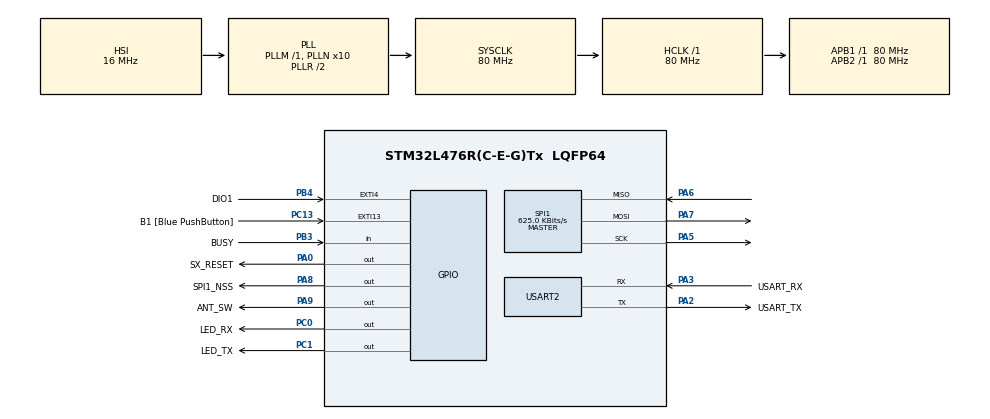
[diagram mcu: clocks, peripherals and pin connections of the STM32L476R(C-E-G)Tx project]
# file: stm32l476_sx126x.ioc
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Mcu.Family=STM32L4
Mcu.Name=STM32L476R(C-E-G)Tx
Mcu.Package=LQFP64
NVIC.EXTI15_10_IRQn=true\:0\:0\:false\:false\:true\:true\:true
NVIC.EXTI4_IRQn=true\:0\:0\:false\:false\:true\:true\:true
NVIC.PriorityGroup=NVIC_PRIORITYGROUP_4
NVIC.RTC_Alarm_IRQn=true\:1\:0\:true\:false\:true\:true\:true
NVIC.USART2_IRQn=true\:0\:0\:false\:false\:true\:true\:true
PA0.GPIO_Label=SX_RESET
PA0.Signal=GPIO_Output
PA13\ (JTMS-SWDIO).GPIO_Label=TMS
PA13\ (JTMS-SWDIO).Mode=Serial_Wire
PA13\ (JTMS-SWDIO).Signal=SYS_JTMS-SWDIO
PA14\ (JTCK-SWCLK).GPIO_Label=TCK
PA14\ (JTCK-SWCLK).Mode=Serial_Wire
PA14\ (JTCK-SWCLK).Signal=SYS_JTCK-SWCLK
PA2.GPIO_Label=USART_TX
PA2.GPIO_Mode=GPIO_MODE_AF_PP
PA2.GPIO_PuPd=GPIO_NOPULL
PA2.GPIO_Speed=GPIO_SPEED_FREQ_VERY_HIGH
PA2.Mode=Asynchronous
PA2.Signal=USART2_TX
PA3.GPIO_Label=USART_RX
PA3.GPIO_Mode=GPIO_MODE_AF_PP
PA3.GPIO_PuPd=GPIO_PULLUP
PA3.GPIO_Speed=GPIO_SPEED_FREQ_VERY_HIGH
PA3.Mode=Asynchronous
PA3.Signal=USART2_RX
PA5.Mode=Full_Duplex_Master
PA5.Signal=SPI1_SCK
PA6.Mode=Full_Duplex_Master
PA6.Signal=SPI1_MISO
PA7.Mode=Full_Duplex_Master
PA7.Signal=SPI1_MOSI
PA8.GPIO_Label=SPI1_NSS
PA8.PinState=GPIO_PIN_SET
PA8.Signal=GPIO_Output
PA9.GPIO_Label=ANT_SW
PA9.Signal=GPIO_Output
PB3\ (JTDO-TRACESWO).GPIO_Label=BUSY
PB3\ (JTDO-TRACESWO).GPIO_PuPd=GPIO_PULLUP
PB3\ (JTDO-TRACESWO).Signal=GPIO_Input
PB4\ (NJTRST).GPIO_Label=DIO1
PB4\ (NJTRST).GPIO_PuPd=GPIO_PULLUP
PB4\ (NJTRST).Signal=GPXTI4
PC0.GPIO_Label=LED_RX
PC0.Signal=GPIO_Output
PC1.GPIO_Label=LED_TX
PC1.Signal=GPIO_Output
PC13.GPIO_Label=B1 [Blue PushButton]
PC13.GPIO_ModeDefaultEXTI=GPIO_MODE_IT_FALLING
PC13.GPIO_PuPd=GPIO_PULLUP
PC13.Signal=GPXTI13
PC14-OSC32_IN\ (PC14).Mode=LSE-External-Oscillator
PC14-OSC32_IN\ (PC14).Signal=RCC_OSC32_IN
PC15-OSC32_OUT\ (PC15).Mode=LSE-External-Oscillator
PC15-OSC32_OUT\ (PC15).Signal=RCC_OSC32_OUT
ProjectManager.HeapSize=0x200
ProjectManager.StackSize=0x400
ProjectManager.TargetToolchain=EWARM V7
RCC.ADCFreq_Value=64000000
RCC.AHBFreq_Value=80000000
RCC.APB1Freq_Value=80000000
RCC.APB1TimFreq_Value=80000000
RCC.APB2Freq_Value=80000000
RCC.APB2TimFreq_Value=80000000
RCC.CortexFreq_Value=80000000
RCC.HCLKFreq_Value=80000000
RCC.HSE_VALUE=8000000
RCC.HSI_VALUE=16000000
RCC.MSI_VALUE=4000000
RCC.PLLN=10
RCC.PLLSourceVirtual=RCC_PLLSOURCE_HSI
RCC.PREFETCH_ENABLE=1
RCC.SYSCLKFreq_VALUE=80000000
RCC.SYSCLKSource=RCC_SYSCLKSOURCE_PLLCLK
RCC.USBFreq_Value=64000000
RCC.VCOOutputFreq_Value=160000000
RTC.Alarm-Alarm\ A=RTC_ALARM_A
RTC.AsynchPrediv=31
RTC.Format=RTC_FORMAT_BIN
RTC.SynchPrediv=1023
SPI1.BaudRatePrescaler=SPI_BAUDRATEPRESCALER_128
SPI1.CLKPhase=SPI_PHASE_2EDGE
SPI1.CalculateBaudRate=625.0 KBits/s
SPI1.DataSize=SPI_DATASIZE_8BIT
SPI1.Direction=SPI_DIRECTION_2LINES
SPI1.Mode=SPI_MODE_MASTER
SPI1.VirtualType=VM_MASTER
USART2.VirtualMode-Asynchronous=VM_ASYNC
VP_RTC_VS_RTC_Activate.Mode=RTC_Enabled
VP_RTC_VS_RTC_Alarm_A_Intern.Mode=Alarm A
VP_RTC_VS_RTC_Calendar.Mode=RTC_Calendar
board=NUCLEO-L476RG

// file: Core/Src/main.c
/* USER CODE BEGIN Header */
/**
  ******************************************************************************
  * @file           : main.c
  * @brief          : Main program body
  ******************************************************************************
  * @attention
  *
  * <h2><center>&copy; Copyright (c) 2021 STMicroelectronics.
  * All rights reserved.</center></h2>
  *
  * This software component is licensed by ST under BSD 3-Clause license,
  * the "License"; You may not use this file except in compliance with the
  * License. You may obtain a copy of the License at:
  *                        opensource.org/licenses/BSD-3-Clause
  *
  ******************************************************************************
  */
/* USER CODE END Header */
#include "main.h"

/* USER CODE BEGIN Includes */
#include <stdio.h>
#include "lora.h"
#include "sys_queue.h"
#include "sys_command_line.h"
/* USER CODE END Includes */

RTC_HandleTypeDef hrtc;

SPI_HandleTypeDef hspi1;

UART_HandleTypeDef huart2;

/* USER CODE BEGIN PV */
uint8_t g_nOpMode=0;
uint8_t rx_buffer[2];
/* USER CODE END PV */

void SystemClock_Config(void);
static void MX_GPIO_Init(void);
static void MX_SPI1_Init(void);
static void MX_USART2_UART_Init(void);
static void MX_RTC_Init(void);

/* USER CODE BEGIN 0 */

// redirect the fputc
int fputc(int ch, FILE *f)
{

  HAL_UART_Transmit(&huart2, (uint8_t *)&ch, 1, 1000);
  return ch;
}
void HAL_GPIO_EXTI_Callback(uint16_t GPIO_Pin)
{
  if(GPIO_Pin==GPIO_PIN_13)
  {
    if(g_nOpMode==0)
      g_nOpMode=1;
    else
      g_nOpMode=0;
  }

  // printf("IRQ\n");
}
void HAL_UART_RxCpltCallback(UART_HandleTypeDef *huart)
{

  /* save char */
  if (huart == &huart2)
  {

    QUEUE_IN(cli_rx_buff, rx_buffer[0]);

    HAL_UART_Receive_IT(&huart2, rx_buffer, 1);
    // uUserTick = 0;
  }

  // if (huart == &huart1)
  // {
  //   Modbus_Master_Rece_Handler();
  //   HAL_UART_Receive_IT(&huart1, rx_buffer1, 1);
  // }
}
/* USER CODE END 0 */

int main(void)
{
  /* USER CODE BEGIN 1 */
  uint8_t xx[] =      {0x09, 0x12, 0x22, 0x32, 0x42, 0x52, 0x62, 0x72, 0x82, 0x92, 0x5d, 0xd6};
  //                    0xcc  0x67  0xaf  0x96  0x64  0x30  0x9c  //seed is 0xffff
  //                    0x71  0x8e  0xca  0xda  0x5b  0x60  0x40  //seed is 0x02ff
  //                    0x71  0x8e  0xda  0xda  0x5a  0x76  0x40  //seed is 0x01ff
  //                    0x71  0x8e  0xda  0xda  0x1b  0x62  0x40  //seed is 0x0000

   //                        0x71  0x8e  0xca  0xda  0x7b  0x66  0x00  0x87  0x4a
   //                        0x71  0x8e  0xde  0xda  0x5b  0x62  0x40  0x87  0x4e
  //                         0x71  0x8e  0xde  0xda  0x5b  0x66  0x40  0x87  0x4a
  uint8_t xordata[] = {0x01, 0x71, 0x8e, 0xca, 0xda, 0x7b, 0x66, 0x00, 0x87, 0x4a,  0x01, 0x02};
  int i;
  uint16_t crc;
  /* USER CODE END 1 */

  /* MCU Configuration--------------------------------------------------------*/

  /* Reset of all peripherals, Initializes the Flash interface and the Systick. */
  HAL_Init();

  /* Configure the system clock */
  SystemClock_Config();

  /* Initialize all configured peripherals */
  MX_GPIO_Init();
  MX_SPI1_Init();
  MX_USART2_UART_Init();
  MX_RTC_Init();
  /* USER CODE BEGIN 2 */
  HAL_UART_Receive_IT(&huart2, rx_buffer, 1);
  CLI_INIT(CLI_BAUDRATE);
  packet_init();
  // tx_cw();
  /* USER CODE END 2 */

  /* Infinite loop */
  /* USER CODE BEGIN WHILE */
  while (1)
  {
    // tx packet
    CLI_RUN();
    // HAL_Delay(50);
    if(g_nOpMode==0)
    {
      printf("tx packet\n");
      fix_lenth_packet_tx_crc_whiten();
      HAL_Delay(200);
    }

    if(g_nOpMode==1)
    {
      printf("rx packet\n");
      packet_rx();
    }
    // register_test();
    // printf("transmit packet\n");
    // packet_tx();
    //fix_lenth_packet_tx_crc_whiten();
    // crc=crc16(xx,10);
    // printf("the crc is 0x%02x, 0x%02x\n",crc>>8,crc&0xff);
    //HAL_Delay(200);
    // for(i=2000;i<=65535;i++)
    // {
    //   printf("the seed is %d\n",i);
    //   SX126xSetWhiteningSeed( i );

    //  packet_rx();
    // }
    // while(1);
    // fix_len_packet_rx();
    // for(i=0;i<12;i++)
    // {
    //   printf("0x%02x,",xx[i]^xordata[i]);
    // }
    /* USER CODE END WHILE */

  }
}

void SystemClock_Config(void)
{
  RCC_OscInitTypeDef RCC_OscInitStruct = {0};
  RCC_ClkInitTypeDef RCC_ClkInitStruct = {0};
  RCC_PeriphCLKInitTypeDef PeriphClkInit = {0};

  /** Initializes the RCC Oscillators according to the specified parameters
  * in the RCC_OscInitTypeDef structure.
  */
  RCC_OscInitStruct.OscillatorType = RCC_OSCILLATORTYPE_HSI|RCC_OSCILLATORTYPE_LSI;
  RCC_OscInitStruct.HSIState = RCC_HSI_ON;
  RCC_OscInitStruct.HSICalibrationValue = RCC_HSICALIBRATION_DEFAULT;
  RCC_OscInitStruct.LSIState = RCC_LSI_ON;
  RCC_OscInitStruct.PLL.PLLState = RCC_PLL_ON;
  RCC_OscInitStruct.PLL.PLLSource = RCC_PLLSOURCE_HSI;
  RCC_OscInitStruct.PLL.PLLM = 1;
  RCC_OscInitStruct.PLL.PLLN = 10;
  RCC_OscInitStruct.PLL.PLLP = RCC_PLLP_DIV7;
  RCC_OscInitStruct.PLL.PLLQ = RCC_PLLQ_DIV2;
  RCC_OscInitStruct.PLL.PLLR = RCC_PLLR_DIV2;
  if (HAL_RCC_OscConfig(&RCC_OscInitStruct) != HAL_OK)
  {
    Error_Handler();
  }
  /** Initializes the CPU, AHB and APB buses clocks
  */
  RCC_ClkInitStruct.ClockType = RCC_CLOCKTYPE_HCLK|RCC_CLOCKTYPE_SYSCLK
                              |RCC_CLOCKTYPE_PCLK1|RCC_CLOCKTYPE_PCLK2;
  RCC_ClkInitStruct.SYSCLKSource = RCC_SYSCLKSOURCE_PLLCLK;
  RCC_ClkInitStruct.AHBCLKDivider = RCC_SYSCLK_DIV1;
  RCC_ClkInitStruct.APB1CLKDivider = RCC_HCLK_DIV1;
  RCC_ClkInitStruct.APB2CLKDivider = RCC_HCLK_DIV1;

  if (HAL_RCC_ClockConfig(&RCC_ClkInitStruct, FLASH_LATENCY_4) != HAL_OK)
  {
    Error_Handler();
  }
  PeriphClkInit.PeriphClockSelection = RCC_PERIPHCLK_RTC|RCC_PERIPHCLK_USART2;
  PeriphClkInit.Usart2ClockSelection = RCC_USART2CLKSOURCE_PCLK1;
  PeriphClkInit.RTCClockSelection = RCC_RTCCLKSOURCE_LSI;
  if (HAL_RCCEx_PeriphCLKConfig(&PeriphClkInit) != HAL_OK)
  {
    Error_Handler();
  }
  /** Configure the main internal regulator output voltage
  */
  if (HAL_PWREx_ControlVoltageScaling(PWR_REGULATOR_VOLTAGE_SCALE1) != HAL_OK)
  {
    Error_Handler();
  }
}

static void MX_RTC_Init(void)
{

  RTC_TimeTypeDef sTime = {0};
  RTC_DateTypeDef sDate = {0};
  RTC_AlarmTypeDef sAlarm = {0};

  /** Initialize RTC Only
  */
  hrtc.Instance = RTC;
  hrtc.Init.HourFormat = RTC_HOURFORMAT_24;
  hrtc.Init.AsynchPrediv = 31;
  hrtc.Init.SynchPrediv = 1023;
  hrtc.Init.OutPut = RTC_OUTPUT_DISABLE;
  hrtc.Init.OutPutRemap = RTC_OUTPUT_REMAP_NONE;
  hrtc.Init.OutPutPolarity = RTC_OUTPUT_POLARITY_HIGH;
  hrtc.Init.OutPutType = RTC_OUTPUT_TYPE_OPENDRAIN;
  if (HAL_RTC_Init(&hrtc) != HAL_OK)
  {
    Error_Handler();
  }

  /** Initialize RTC and set the Time and Date
  */
  sTime.Hours = 0;
  sTime.Minutes = 0;
  sTime.Seconds = 0;
  sTime.DayLightSaving = RTC_DAYLIGHTSAVING_NONE;
  sTime.StoreOperation = RTC_STOREOPERATION_RESET;
  if (HAL_RTC_SetTime(&hrtc, &sTime, RTC_FORMAT_BIN) != HAL_OK)
  {
    Error_Handler();
  }
  sDate.WeekDay = RTC_WEEKDAY_MONDAY;
  sDate.Month = RTC_MONTH_JANUARY;
  sDate.Date = 1;
  sDate.Year = 0;

  if (HAL_RTC_SetDate(&hrtc, &sDate, RTC_FORMAT_BIN) != HAL_OK)
  {
    Error_Handler();
  }
  /** Enable the Alarm A
  */
  sAlarm.AlarmTime.Hours = 0;
  sAlarm.AlarmTime.Minutes = 0;
  sAlarm.AlarmTime.Seconds = 0;
  sAlarm.AlarmTime.SubSeconds = 0;
  sAlarm.AlarmTime.DayLightSaving = RTC_DAYLIGHTSAVING_NONE;
  sAlarm.AlarmTime.StoreOperation = RTC_STOREOPERATION_RESET;
  sAlarm.AlarmMask = RTC_ALARMMASK_NONE;
  sAlarm.AlarmSubSecondMask = RTC_ALARMSUBSECONDMASK_ALL;
  sAlarm.AlarmDateWeekDaySel = RTC_ALARMDATEWEEKDAYSEL_DATE;
  sAlarm.AlarmDateWeekDay = 1;
  sAlarm.Alarm = RTC_ALARM_A;
  if (HAL_RTC_SetAlarm_IT(&hrtc, &sAlarm, RTC_FORMAT_BIN) != HAL_OK)
  {
    Error_Handler();
  }

}

static void MX_SPI1_Init(void)
{

  /* SPI1 parameter configuration*/
  hspi1.Instance = SPI1;
  hspi1.Init.Mode = SPI_MODE_MASTER;
  hspi1.Init.Direction = SPI_DIRECTION_2LINES;
  hspi1.Init.DataSize = SPI_DATASIZE_8BIT;
  hspi1.Init.CLKPolarity = SPI_POLARITY_LOW;
  hspi1.Init.CLKPhase = SPI_PHASE_2EDGE;
  hspi1.Init.NSS = SPI_NSS_SOFT;
  hspi1.Init.BaudRatePrescaler = SPI_BAUDRATEPRESCALER_128;
  hspi1.Init.FirstBit = SPI_FIRSTBIT_MSB;
  hspi1.Init.TIMode = SPI_TIMODE_DISABLE;
  hspi1.Init.CRCCalculation = SPI_CRCCALCULATION_DISABLE;
  hspi1.Init.CRCPolynomial = 7;
  hspi1.Init.CRCLength = SPI_CRC_LENGTH_DATASIZE;
  hspi1.Init.NSSPMode = SPI_NSS_PULSE_DISABLE;
  if (HAL_SPI_Init(&hspi1) != HAL_OK)
  {
    Error_Handler();
  }

}

static void MX_USART2_UART_Init(void)
{

  huart2.Instance = USART2;
  huart2.Init.BaudRate = 115200;
  huart2.Init.WordLength = UART_WORDLENGTH_8B;
  huart2.Init.StopBits = UART_STOPBITS_1;
  huart2.Init.Parity = UART_PARITY_NONE;
  huart2.Init.Mode = UART_MODE_TX_RX;
  huart2.Init.HwFlowCtl = UART_HWCONTROL_NONE;
  huart2.Init.OverSampling = UART_OVERSAMPLING_16;
  huart2.Init.OneBitSampling = UART_ONE_BIT_SAMPLE_DISABLE;
  huart2.AdvancedInit.AdvFeatureInit = UART_ADVFEATURE_NO_INIT;
  if (HAL_UART_Init(&huart2) != HAL_OK)
  {
    Error_Handler();
  }

}

static void MX_GPIO_Init(void)
{
  GPIO_InitTypeDef GPIO_InitStruct = {0};

  /* GPIO Ports Clock Enable */
  __HAL_RCC_GPIOC_CLK_ENABLE();
  __HAL_RCC_GPIOA_CLK_ENABLE();
  __HAL_RCC_GPIOB_CLK_ENABLE();

  /*Configure GPIO pin Output Level */
  HAL_GPIO_WritePin(GPIOC, LED_RX_Pin|LED_TX_Pin, GPIO_PIN_RESET);

  /*Configure GPIO pin Output Level */
  HAL_GPIO_WritePin(GPIOA, SX_RESET_Pin|ANT_SW_Pin, GPIO_PIN_RESET);

  /*Configure GPIO pin Output Level */
  HAL_GPIO_WritePin(SPI1_NSS_GPIO_Port, SPI1_NSS_Pin, GPIO_PIN_SET);

  /*Configure GPIO pin : B1_Pin */
  GPIO_InitStruct.Pin = B1_Pin;
  GPIO_InitStruct.Mode = GPIO_MODE_IT_FALLING;
  GPIO_InitStruct.Pull = GPIO_PULLUP;
  HAL_GPIO_Init(B1_GPIO_Port, &GPIO_InitStruct);

  /*Configure GPIO pins : LED_RX_Pin LED_TX_Pin */
  GPIO_InitStruct.Pin = LED_RX_Pin|LED_TX_Pin;
  GPIO_InitStruct.Mode = GPIO_MODE_OUTPUT_PP;
  GPIO_InitStruct.Pull = GPIO_NOPULL;
  GPIO_InitStruct.Speed = GPIO_SPEED_FREQ_LOW;
  HAL_GPIO_Init(GPIOC, &GPIO_InitStruct);

  /*Configure GPIO pins : SX_RESET_Pin SPI1_NSS_Pin ANT_SW_Pin */
  GPIO_InitStruct.Pin = SX_RESET_Pin|SPI1_NSS_Pin|ANT_SW_Pin;
  GPIO_InitStruct.Mode = GPIO_MODE_OUTPUT_PP;
  GPIO_InitStruct.Pull = GPIO_NOPULL;
  GPIO_InitStruct.Speed = GPIO_SPEED_FREQ_LOW;
  HAL_GPIO_Init(GPIOA, &GPIO_InitStruct);

  /*Configure GPIO pin : BUSY_Pin */
  GPIO_InitStruct.Pin = BUSY_Pin;
  GPIO_InitStruct.Mode = GPIO_MODE_INPUT;
  GPIO_InitStruct.Pull = GPIO_PULLUP;
  HAL_GPIO_Init(BUSY_GPIO_Port, &GPIO_InitStruct);

  /*Configure GPIO pin : DIO1_Pin */
  GPIO_InitStruct.Pin = DIO1_Pin;
  GPIO_InitStruct.Mode = GPIO_MODE_IT_RISING;
  GPIO_InitStruct.Pull = GPIO_PULLUP;
  HAL_GPIO_Init(DIO1_GPIO_Port, &GPIO_InitStruct);

  /* EXTI interrupt init*/
  HAL_NVIC_SetPriority(EXTI4_IRQn, 0, 0);
  HAL_NVIC_EnableIRQ(EXTI4_IRQn);

  HAL_NVIC_SetPriority(EXTI15_10_IRQn, 0, 0);
  HAL_NVIC_EnableIRQ(EXTI15_10_IRQn);

}

void Error_Handler(void)
{
  __disable_irq();
  while (1)
  {
  }
}

/************************ (C) COPYRIGHT STMicroelectronics *****END OF FILE****/
